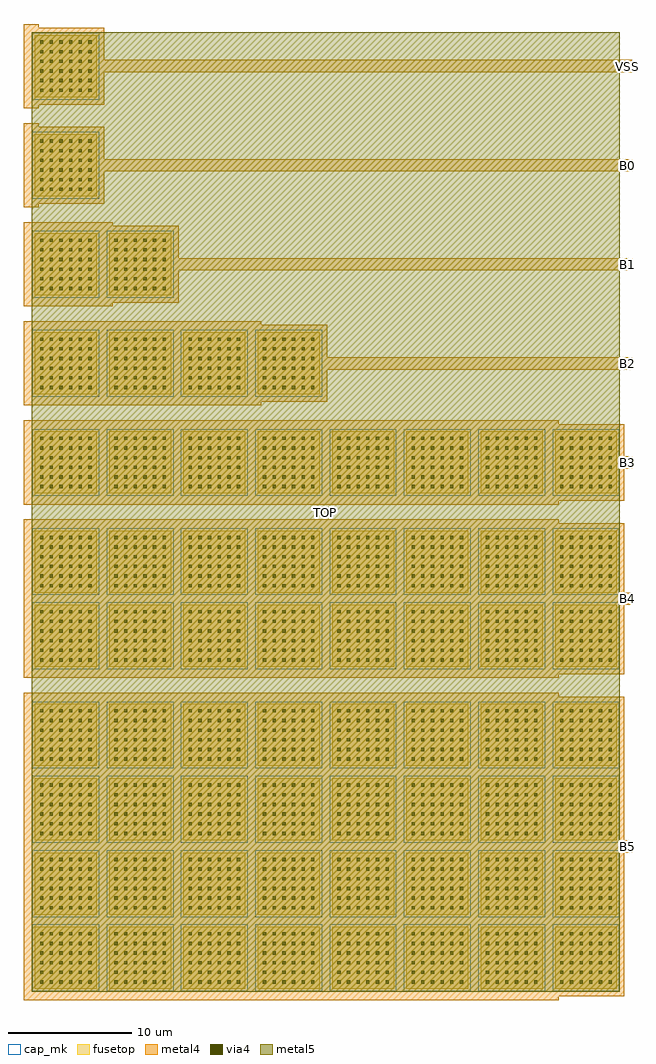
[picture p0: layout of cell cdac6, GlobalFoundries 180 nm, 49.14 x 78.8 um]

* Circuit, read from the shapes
.subckt cdac6 B0 B1 B2 B3 B4 B5 TOP VSS
XC1 TOP B5 cap_mim_2f0fF c_width=5u c_length=5u m=32
XC2 TOP B4 cap_mim_2f0fF c_width=5u c_length=5u m=16
XC3 TOP B3 cap_mim_2f0fF c_width=5u c_length=5u m=8
XC4 TOP B2 cap_mim_2f0fF c_width=5u c_length=5u m=4
XC5 TOP B1 cap_mim_2f0fF c_width=5u c_length=5u m=2
XC6 TOP B0 cap_mim_2f0fF c_width=5u c_length=5u
XC7 TOP VSS cap_mim_2f0fF c_width=5u c_length=5u
.ends

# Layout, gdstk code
import gdstk
lib = gdstk.Library(unit=1e-6, precision=1e-09)
def R(c, l, rs):  # rectangles x0, y0, x1, y1
    for r in rs: c.add(gdstk.rectangle(r[:2], r[2:], *l))
def A(c, l, x, y, w, h, nx, ny, dx, dy):  # array of equal rectangles
    R(c, l, [(x+i*dx, y+j*dy, x+i*dx+w, y+j*dy+h) for i in range(nx) for j in range(ny)])
via4 = (41, 0)
metal4 = (46, 0)
fusetop = (75, 0)
metal5 = (81, 0)
cap_mk = (117, 5)

cdac6 = lib.new_cell('cdac6')
A(cdac6, via4, 0.42, 0.42, 0.26, 0.26, 6, 6, 0.78, 0.78)
A(cdac6, via4, 6.42, 0.42, 0.26, 0.26, 6, 6, 0.78, 0.78)
A(cdac6, via4, 12.42, 0.42, 0.26, 0.26, 6, 6, 0.78, 0.78)
A(cdac6, via4, 18.42, 0.42, 0.26, 0.26, 6, 6, 0.78, 0.78)
A(cdac6, via4, 24.42, 0.42, 0.26, 0.26, 6, 6, 0.78, 0.78)
A(cdac6, via4, 30.42, 0.42, 0.26, 0.26, 6, 6, 0.78, 0.78)
A(cdac6, via4, 36.42, 0.42, 0.26, 0.26, 6, 6, 0.78, 0.78)
A(cdac6, via4, 42.42, 0.42, 0.26, 0.26, 6, 6, 0.78, 0.78)
A(cdac6, via4, 0.42, 6.42, 0.26, 0.26, 6, 6, 0.78, 0.78)
A(cdac6, via4, 6.42, 6.42, 0.26, 0.26, 6, 6, 0.78, 0.78)
A(cdac6, via4, 12.42, 6.42, 0.26, 0.26, 6, 6, 0.78, 0.78)
A(cdac6, via4, 18.42, 6.42, 0.26, 0.26, 6, 6, 0.78, 0.78)
A(cdac6, via4, 24.42, 6.42, 0.26, 0.26, 6, 6, 0.78, 0.78)
A(cdac6, via4, 30.42, 6.42, 0.26, 0.26, 6, 6, 0.78, 0.78)
A(cdac6, via4, 36.42, 6.42, 0.26, 0.26, 6, 6, 0.78, 0.78)
A(cdac6, via4, 42.42, 6.42, 0.26, 0.26, 6, 6, 0.78, 0.78)
A(cdac6, via4, 0.42, 12.42, 0.26, 0.26, 6, 6, 0.78, 0.78)
A(cdac6, via4, 6.42, 12.42, 0.26, 0.26, 6, 6, 0.78, 0.78)
A(cdac6, via4, 12.42, 12.42, 0.26, 0.26, 6, 6, 0.78, 0.78)
A(cdac6, via4, 18.42, 12.42, 0.26, 0.26, 6, 6, 0.78, 0.78)
A(cdac6, via4, 24.42, 12.42, 0.26, 0.26, 6, 6, 0.78, 0.78)
A(cdac6, via4, 30.42, 12.42, 0.26, 0.26, 6, 6, 0.78, 0.78)
A(cdac6, via4, 36.42, 12.42, 0.26, 0.26, 6, 6, 0.78, 0.78)
A(cdac6, via4, 42.42, 12.42, 0.26, 0.26, 6, 6, 0.78, 0.78)
A(cdac6, via4, 0.42, 18.42, 0.26, 0.26, 6, 6, 0.78, 0.78)
A(cdac6, via4, 6.42, 18.42, 0.26, 0.26, 6, 6, 0.78, 0.78)
A(cdac6, via4, 12.42, 18.42, 0.26, 0.26, 6, 6, 0.78, 0.78)
A(cdac6, via4, 18.42, 18.42, 0.26, 0.26, 6, 6, 0.78, 0.78)
A(cdac6, via4, 24.42, 18.42, 0.26, 0.26, 6, 6, 0.78, 0.78)
A(cdac6, via4, 30.42, 18.42, 0.26, 0.26, 6, 6, 0.78, 0.78)
A(cdac6, via4, 36.42, 18.42, 0.26, 0.26, 6, 6, 0.78, 0.78)
A(cdac6, via4, 42.42, 18.42, 0.26, 0.26, 6, 6, 0.78, 0.78)
A(cdac6, via4, 0.42, 26.42, 0.26, 0.26, 6, 6, 0.78, 0.78)
A(cdac6, via4, 6.42, 26.42, 0.26, 0.26, 6, 6, 0.78, 0.78)
A(cdac6, via4, 12.42, 26.42, 0.26, 0.26, 6, 6, 0.78, 0.78)
A(cdac6, via4, 18.42, 26.42, 0.26, 0.26, 6, 6, 0.78, 0.78)
A(cdac6, via4, 24.42, 26.42, 0.26, 0.26, 6, 6, 0.78, 0.78)
A(cdac6, via4, 30.42, 26.42, 0.26, 0.26, 6, 6, 0.78, 0.78)
A(cdac6, via4, 36.42, 26.42, 0.26, 0.26, 6, 6, 0.78, 0.78)
A(cdac6, via4, 42.42, 26.42, 0.26, 0.26, 6, 6, 0.78, 0.78)
A(cdac6, via4, 0.42, 32.42, 0.26, 0.26, 6, 6, 0.78, 0.78)
A(cdac6, via4, 6.42, 32.42, 0.26, 0.26, 6, 6, 0.78, 0.78)
A(cdac6, via4, 12.42, 32.42, 0.26, 0.26, 6, 6, 0.78, 0.78)
A(cdac6, via4, 18.42, 32.42, 0.26, 0.26, 6, 6, 0.78, 0.78)
A(cdac6, via4, 24.42, 32.42, 0.26, 0.26, 6, 6, 0.78, 0.78)
A(cdac6, via4, 30.42, 32.42, 0.26, 0.26, 6, 6, 0.78, 0.78)
A(cdac6, via4, 36.42, 32.42, 0.26, 0.26, 6, 6, 0.78, 0.78)
A(cdac6, via4, 42.42, 32.42, 0.26, 0.26, 6, 6, 0.78, 0.78)
A(cdac6, via4, 0.42, 40.42, 0.26, 0.26, 6, 6, 0.78, 0.78)
A(cdac6, via4, 6.42, 40.42, 0.26, 0.26, 6, 6, 0.78, 0.78)
A(cdac6, via4, 12.42, 40.42, 0.26, 0.26, 6, 6, 0.78, 0.78)
A(cdac6, via4, 18.42, 40.42, 0.26, 0.26, 6, 6, 0.78, 0.78)
A(cdac6, via4, 24.42, 40.42, 0.26, 0.26, 6, 6, 0.78, 0.78)
A(cdac6, via4, 30.42, 40.42, 0.26, 0.26, 6, 6, 0.78, 0.78)
A(cdac6, via4, 36.42, 40.42, 0.26, 0.26, 6, 6, 0.78, 0.78)
A(cdac6, via4, 42.42, 40.42, 0.26, 0.26, 6, 6, 0.78, 0.78)
A(cdac6, via4, 0.42, 48.42, 0.26, 0.26, 6, 6, 0.78, 0.78)
A(cdac6, via4, 6.42, 48.42, 0.26, 0.26, 6, 6, 0.78, 0.78)
A(cdac6, via4, 12.42, 48.42, 0.26, 0.26, 6, 6, 0.78, 0.78)
A(cdac6, via4, 18.42, 48.42, 0.26, 0.26, 6, 6, 0.78, 0.78)
A(cdac6, via4, 0.42, 56.42, 0.26, 0.26, 6, 6, 0.78, 0.78)
A(cdac6, via4, 6.42, 56.42, 0.26, 0.26, 6, 6, 0.78, 0.78)
A(cdac6, via4, 0.42, 64.42, 0.26, 0.26, 6, 6, 0.78, 0.78)
A(cdac6, via4, 0.42, 72.42, 0.26, 0.26, 6, 6, 0.78, 0.78)
A(cdac6, metal4, -0.6, -0.6, 6.2, 6.2, 8, 4, 6, 6)
A(cdac6, metal4, -0.6, 25.4, 6.2, 6.2, 8, 2, 6, 6)
A(cdac6, metal4, -0.6, 39.4, 6.2, 6.2, 8, 1, 6, 0)
A(cdac6, metal4, 47.44, 42, 0.8, 1, 1, 5, 0, 8)
A(cdac6, metal4, -0.6, 47.4, 6.2, 6.2, 4, 1, 6, 0)
A(cdac6, metal4, -0.6, 55.4, 6.2, 6.2, 1, 3, 0, 8)
R(cdac6, metal4, [(-0.9,-0.9,42.3,23.9), (42.3,11,48.24,12), (47.44,11,48.24,12), (-0.9,25.1,42.3,37.9), (42.3,31,48.24,32), (47.44,31,48.24,32), (-0.9,39.1,42.3,45.9), (42.3,42,48.24,43), (-0.9,47.1,18.3,53.9), (18.3,50,48.24,51), (-0.9,55.1,6.3,61.9), (5.4,55.4,11.6,61.6), (6.3,58,48.24,59), (-0.9,63.1,0.3,69.9), (0.3,66,48.24,67), (-0.9,71.1,0.3,77.9), (0.3,74,48.24,75)])
A(cdac6, fusetop, 0, 0, 5, 5, 8, 4, 6, 6)
A(cdac6, fusetop, 0, 26, 5, 5, 8, 2, 6, 6)
A(cdac6, fusetop, 0, 40, 5, 5, 8, 1, 6, 0)
A(cdac6, fusetop, 0, 48, 5, 5, 4, 1, 6, 0)
A(cdac6, fusetop, 0, 56, 5, 5, 1, 3, 0, 8)
R(cdac6, fusetop, [(6,56,11,61)])
A(cdac6, metal5, 0.36, 0.36, 4.28, 4.28, 8, 4, 6, 6)
A(cdac6, metal5, 0.36, 26.36, 4.28, 4.28, 8, 2, 6, 6)
A(cdac6, metal5, 0.36, 40.36, 4.28, 4.28, 8, 1, 6, 0)
A(cdac6, metal5, 0.36, 48.36, 4.28, 4.28, 4, 1, 6, 0)
A(cdac6, metal5, 0.36, 56.36, 4.28, 4.28, 1, 3, 0, 8)
R(cdac6, metal5, [(-0.24,-0.24,47.24,77.24), (6.36,56.36,10.64,60.64)])
A(cdac6, cap_mk, -0.2, -0.2, 5.4, 5.4, 8, 4, 6, 6)
A(cdac6, cap_mk, -0.2, 25.8, 5.4, 5.4, 8, 2, 6, 6)
A(cdac6, cap_mk, -0.2, 39.8, 5.4, 5.4, 8, 1, 6, 0)
A(cdac6, cap_mk, -0.2, 47.8, 5.4, 5.4, 4, 1, 6, 0)
A(cdac6, cap_mk, -0.2, 55.8, 5.4, 5.4, 1, 3, 0, 8)
R(cdac6, cap_mk, [(5.8,55.8,11.2,61.2)])
cdac6.add(gdstk.Label('TOP', (23.5,38.5), layer=81, texttype=10))
cdac6.add(gdstk.Label('B0', (47.84,66.5), layer=46, texttype=10))
cdac6.add(gdstk.Label('B1', (47.84,58.5), layer=46, texttype=10))
cdac6.add(gdstk.Label('B2', (47.84,50.5), layer=46, texttype=10))
cdac6.add(gdstk.Label('B3', (47.84,42.5), layer=46, texttype=10))
cdac6.add(gdstk.Label('B4', (47.84,31.5), layer=46, texttype=10))
cdac6.add(gdstk.Label('B5', (47.84,11.5), layer=46, texttype=10))
cdac6.add(gdstk.Label('VSS', (47.84,74.5), layer=46, texttype=10))

lib.write_gds('cdac6.gds')
